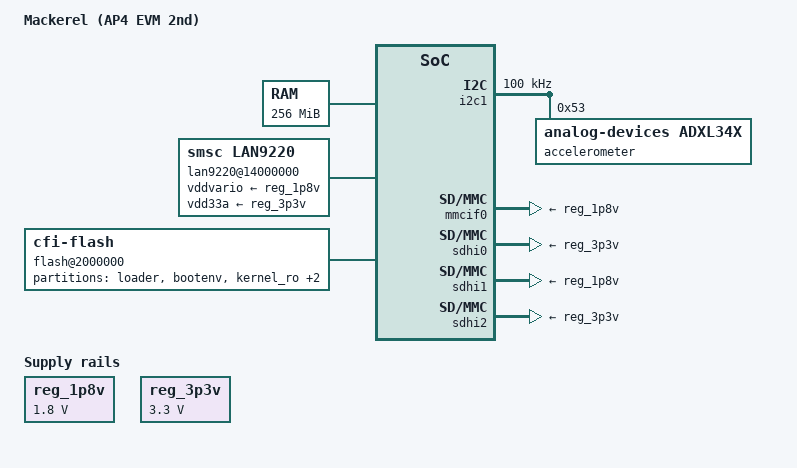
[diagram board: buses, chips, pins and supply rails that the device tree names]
/*
 * Device Tree Source for the mackerel board
 *
 * Copyright (C) 2012 Renesas Solutions Corp.
 *
 * This file is licensed under the terms of the GNU General Public License
 * version 2.  This program is licensed "as is" without any warranty of any
 * kind, whether express or implied.
 */

/dts-v1/;
/include/ "sh7372.dtsi"

/ {
	model = "Mackerel (AP4 EVM 2nd)";
	compatible = "renesas,mackerel-reference";

	chosen {
		bootargs = "console=tty0, console=ttySC0,115200 earlyprintk=sh-sci.0,115200 root=/dev/nfs nfsroot=,tcp,v3 ip=dhcp mem=240m rw";
	};

	memory {
		device_type = "memory";
		reg = <0x40000000 0x10000000>;
	};

	reg_1p8v: regulator@0 {
		compatible = "regulator-fixed";
		regulator-name = "1P8V";
		regulator-min-microvolt = <1800000>;
		regulator-max-microvolt = <1800000>;
		regulator-boot-on;
		regulator-always-on;
	};

	reg_3p3v: regulator@1 {
		compatible = "regulator-fixed";
		regulator-name = "3P3V";
		regulator-min-microvolt = <3300000>;
		regulator-max-microvolt = <3300000>;
		regulator-boot-on;
		regulator-always-on;
	};

	lan9220@14000000 {
		compatible = "smsc,lan9220", "smsc,lan9115";
		reg = <0x14000000 0x2000000>;
		phy-mode = "mii";
		interrupt-parent = <&intca_irq_pins_lo>;
		interrupts = <0x2c0>;
		reg-io-width = <4>;
		smsc,irq-push-pull;
		smsc,save-mac-address;
		vddvario-supply = <&reg_1p8v>;
		vdd33a-supply = <&reg_3p3v>;
	};

	i2c1: i2c@e6c20000 {
		#address-cells = <1>;
		#size-cells = <0>;
		compatible = "renesas,rmobile-iic";
		reg = <0xe6c20000 0x1000>;
		interrupt-parent = <&intca>;
		interrupts = <0x780 0x7a0 0x7c0 0x7e0>;

		clock-frequency = <100000>;

		accelerometer@53 {
			compatible = "analog-devices,adxl34x";
			reg = <0x53>;
			interrupt-parent = <&intca_irq_pins_hi>;
			interrupts = <0x32a0>;
		};
	};

	mmcif0: mmcif@0xe6bd0000 {
		compatible = "renesas,sh-mmcif", "renesas,sh7372-mmcif";
		reg = <0xe6bd0000 0x100>;
		interrupt-parent = <&intca>;
		interrupts = <0x1ac0 0x1ae0>;
		vmmc-supply = <&reg_1p8v>;
	};

	sdhi0: sdhi@0xe6850000 {
		compatible = "renesas,shmobile-sdhi";
		reg = <0xe6850000 0x100>;
		interrupt-parent = <&intca>;
		interrupts = <0x0e00 0x0e20 0x0e40>;
		vmmc-supply = <&reg_3p3v>;
	};

	sdhi1: sdhi@0xe6860000 {
		compatible = "renesas,shmobile-sdhi";
		reg = <0xe6860000 0x100>;
		interrupt-parent = <&intca>;
		interrupts = <0x0e80 0x0ea0 0x0ec0>;
		vmmc-supply = <&reg_1p8v>;
	};

	sdhi2: sdhi@0xe6870000 {
		compatible = "renesas,shmobile-sdhi";
		reg = <0xe6870000 0x100>;
		interrupt-parent = <&intca>;
		interrupts = <0x1200 0x1220 0x1240>;
		vmmc-supply = <&reg_3p3v>;
	};

	flash@2000000 {
		#address-cells = <1>;
		#size-cells = <1>;
		compatible = "cfi-flash";
		reg = <0x20000000 0x8000000>;
		bank-width = <2>;
		partition@0 {
			label = "loader";
			reg = <0 0x80000>;
		};
		partition@1 {
			label = "bootenv";
			reg = <0x80000 0x80000>;
		};
		partition@2 {
			label = "kernel_ro";
			reg = <0x100000 0x800000>;
		};
		partition@3 {
			label = "kernel";
			reg = <0x900000 0x800000>;
		};
		partition@4 {
			label = "data";
			reg = <0x1100000 0x6f00000>;
		};
	};
};
